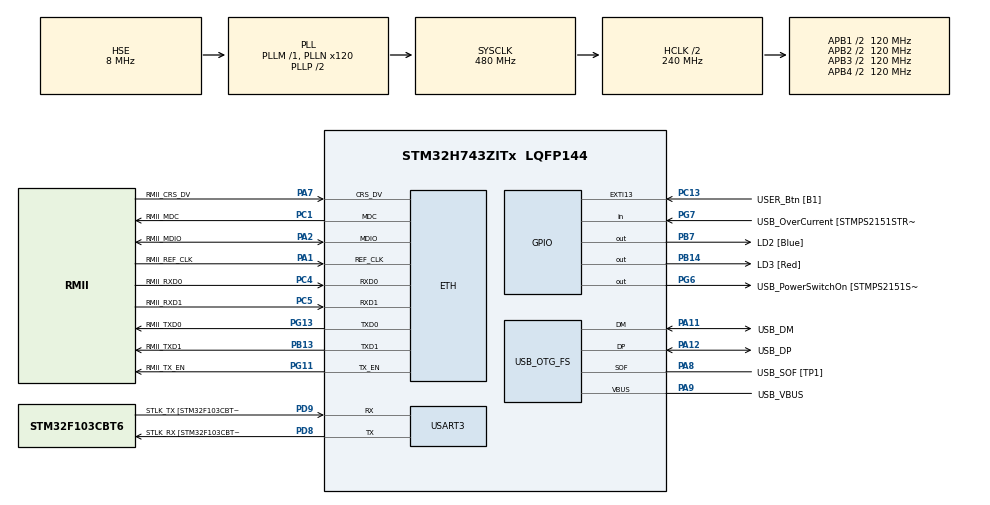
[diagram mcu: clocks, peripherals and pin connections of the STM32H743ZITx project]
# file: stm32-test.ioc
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Dma.Request0=USART3_RX
Dma.Request1=USART3_TX
Dma.USART3_RX.0.Direction=DMA_PERIPH_TO_MEMORY
Dma.USART3_RX.0.EventEnable=DISABLE
Dma.USART3_RX.0.FIFOMode=DMA_FIFOMODE_DISABLE
Dma.USART3_RX.0.Instance=DMA1_Stream0
Dma.USART3_RX.0.MemDataAlignment=DMA_MDATAALIGN_BYTE
Dma.USART3_RX.0.MemInc=DMA_MINC_ENABLE
Dma.USART3_RX.0.Mode=DMA_NORMAL
Dma.USART3_RX.0.PeriphDataAlignment=DMA_PDATAALIGN_BYTE
Dma.USART3_RX.0.PeriphInc=DMA_PINC_DISABLE
Dma.USART3_RX.0.Polarity=HAL_DMAMUX_REQ_GEN_RISING
Dma.USART3_RX.0.Priority=DMA_PRIORITY_LOW
Dma.USART3_RX.0.RequestNumber=1
Dma.USART3_RX.0.SignalID=NONE
Dma.USART3_RX.0.SyncEnable=DISABLE
Dma.USART3_RX.0.SyncPolarity=HAL_DMAMUX_SYNC_NO_EVENT
Dma.USART3_RX.0.SyncRequestNumber=1
Dma.USART3_RX.0.SyncSignalID=NONE
Dma.USART3_TX.1.Direction=DMA_MEMORY_TO_PERIPH
Dma.USART3_TX.1.EventEnable=DISABLE
Dma.USART3_TX.1.FIFOMode=DMA_FIFOMODE_DISABLE
Dma.USART3_TX.1.Instance=DMA1_Stream1
Dma.USART3_TX.1.MemDataAlignment=DMA_MDATAALIGN_BYTE
Dma.USART3_TX.1.MemInc=DMA_MINC_ENABLE
Dma.USART3_TX.1.Mode=DMA_NORMAL
Dma.USART3_TX.1.PeriphDataAlignment=DMA_PDATAALIGN_BYTE
Dma.USART3_TX.1.PeriphInc=DMA_PINC_DISABLE
Dma.USART3_TX.1.Polarity=HAL_DMAMUX_REQ_GEN_RISING
Dma.USART3_TX.1.Priority=DMA_PRIORITY_LOW
Dma.USART3_TX.1.RequestNumber=1
Dma.USART3_TX.1.SignalID=NONE
Dma.USART3_TX.1.SyncEnable=DISABLE
Dma.USART3_TX.1.SyncPolarity=HAL_DMAMUX_SYNC_NO_EVENT
Dma.USART3_TX.1.SyncRequestNumber=1
Dma.USART3_TX.1.SyncSignalID=NONE
ETH.MediaInterface=HAL_ETH_RMII_MODE
Mcu.Family=STM32H7
Mcu.Name=STM32H743ZITx
Mcu.Package=LQFP144
NVIC.DMA1_Stream0_IRQn=true\:0\:0\:false\:false\:true\:false\:true\:true
NVIC.DMA1_Stream1_IRQn=true\:0\:0\:false\:false\:true\:false\:true\:true
NVIC.ETH_IRQn=true\:0\:0\:false\:false\:true\:true\:true\:true
NVIC.ETH_WKUP_IRQn=true\:0\:0\:false\:false\:true\:true\:true\:true
NVIC.PriorityGroup=NVIC_PRIORITYGROUP_4
NVIC.TIM7_IRQn=true\:15\:0\:false\:false\:true\:false\:true\:true
NVIC.TimeBase=TIM7_IRQn
NVIC.TimeBaseIP=TIM7
NVIC.USART3_IRQn=true\:0\:0\:false\:false\:true\:true\:true\:true
PA1.GPIO_Label=RMII_REF_CLK
PA1.Mode=RMII
PA1.Signal=ETH_REF_CLK
PA11.GPIO_Label=USB_DM
PA11.Mode=Device_Only
PA11.Signal=USB_OTG_FS_DM
PA12.GPIO_Label=USB_DP
PA12.Mode=Device_Only
PA12.Signal=USB_OTG_FS_DP
PA13\ (JTMS/SWDIO).GPIO_Label=TMS
PA13\ (JTMS/SWDIO).Mode=Serial_Wire
PA13\ (JTMS/SWDIO).Signal=DEBUG_JTMS-SWDIO
PA14\ (JTCK/SWCLK).GPIO_Label=TCK
PA14\ (JTCK/SWCLK).Mode=Serial_Wire
PA14\ (JTCK/SWCLK).Signal=DEBUG_JTCK-SWCLK
PA2.GPIO_Label=RMII_MDIO
PA2.Mode=RMII
PA2.Signal=ETH_MDIO
PA7.GPIO_Label=RMII_CRS_DV
PA7.Mode=RMII
PA7.Signal=ETH_CRS_DV
PA8.GPIO_Label=USB_SOF [TP1]
PA8.Mode=Activate_SOF_FS
PA8.Signal=USB_OTG_FS_SOF
PA9.GPIO_Label=USB_VBUS
PA9.Mode=Activate_VBUS
PA9.Signal=USB_OTG_FS_VBUS
PB13.GPIO_Label=RMII_TXD1
PB13.Mode=RMII
PB13.Signal=ETH_TXD1
PB14.GPIO_Label=LD3 [Red]
PB14.Signal=GPIO_Output
PB7.GPIO_Label=LD2 [Blue]
PB7.Signal=GPIO_Output
PC1.GPIO_Label=RMII_MDC
PC1.Mode=RMII
PC1.Signal=ETH_MDC
PC13.GPIO_Label=USER_Btn [B1]
PC13.Signal=GPXTI13
PC14-OSC32_IN\ (OSC32_IN).Mode=LSE-External-Oscillator
PC14-OSC32_IN\ (OSC32_IN).Signal=RCC_OSC32_IN
PC15-OSC32_OUT\ (OSC32_OUT).Mode=LSE-External-Oscillator
PC15-OSC32_OUT\ (OSC32_OUT).Signal=RCC_OSC32_OUT
PC4.GPIO_Label=RMII_RXD0
PC4.Mode=RMII
PC4.Signal=ETH_RXD0
PC5.GPIO_Label=RMII_RXD1
PC5.Mode=RMII
PC5.Signal=ETH_RXD1
PD8.GPIO_Label=STLK_RX [STM32F103CBT6_PA3]
PD8.Mode=Asynchronous
PD8.Signal=USART3_TX
PD9.GPIO_Label=STLK_TX [STM32F103CBT6_PA2]
PD9.Mode=Asynchronous
PD9.Signal=USART3_RX
PG11.GPIO_Label=RMII_TX_EN
PG11.Mode=RMII
PG11.Signal=ETH_TX_EN
PG13.GPIO_Label=RMII_TXD0
PG13.Mode=RMII
PG13.Signal=ETH_TXD0
PG6.GPIO_Label=USB_PowerSwitchOn [STMPS2151STR_EN]
PG6.Signal=GPIO_Output
PG7.GPIO_Label=USB_OverCurrent [STMPS2151STR_FAULT]
PG7.Signal=GPIO_Input
PH0-OSC_IN\ (PH0).GPIO_Label=MCO
PH0-OSC_IN\ (PH0).Mode=HSE-External-Clock-Source
PH0-OSC_IN\ (PH0).Signal=RCC_OSC_IN
ProjectManager.HeapSize=0x200
ProjectManager.StackSize=0x400
ProjectManager.TargetToolchain=STM32CubeIDE
RCC.48MHZClocksFreq_Value=24000000
RCC.ADCFreq_Value=16125000
RCC.AHBFreq_Value=216000000
RCC.APB1CLKDivider=RCC_HCLK_DIV4
RCC.APB1Freq_Value=120000000
RCC.APB1TimFreq_Value=108000000
RCC.APB2CLKDivider=RCC_HCLK_DIV2
RCC.APB2Freq_Value=120000000
RCC.APB2TimFreq_Value=216000000
RCC.APB3Freq_Value=120000000
RCC.APB4Freq_Value=120000000
RCC.CortexFreq_Value=480000000
RCC.D1PPRE=RCC_APB3_DIV2
RCC.D2PPRE1=RCC_APB1_DIV2
RCC.D2PPRE2=RCC_APB2_DIV2
RCC.D3PPRE=RCC_APB4_DIV2
RCC.DIVM1=1
RCC.DIVM3=1
RCC.DIVN1=120
RCC.DIVN3=120
RCC.DIVQ1=4
RCC.DIVQ3=20
RCC.HCLKFreq_Value=240000000
RCC.HPRE=RCC_HCLK_DIV2
RCC.HSE_VALUE=8000000
RCC.HSI_VALUE=64000000
RCC.PLLM=25
RCC.PLLMUL=RCC_PLL_MUL9
RCC.PLLN=432
RCC.PLLQ=9
RCC.PLLSourceVirtual=RCC_PLLSOURCE_HSE
RCC.PRESCALERUSB=RCC_USBCLKSOURCE_PLL_DIV1_5
RCC.PWR_Regulator_Voltage_Scale=PWR_REGULATOR_VOLTAGE_SCALE0
RCC.SYSCLKFreq_VALUE=480000000
RCC.SYSCLKSource=RCC_SYSCLKSOURCE_PLLCLK
RCC.SYSCLKSourceVirtual=RCC_SYSCLKSOURCE_PLLCLK
RCC.USBCLockSelection=RCC_USBCLKSOURCE_PLL3
RCC.USBFreq_Value=48000000
RCC.VCOOutputFreq_Value=432000000
USART3.VirtualMode-Asynchronous=VM_ASYNC
USB_OTG_FS.VirtualMode=Device_Only
VP_CRC_VS_CRC.Mode=CRC_Activate
VP_MEMORYMAP_VS_MEMORYMAP.Mode=CurAppReg
VP_RNG_VS_RNG.Mode=RNG_Activate
VP_SYS_VS_tim7.Mode=TIM7
board=NUCLEO-H743ZI

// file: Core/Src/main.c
/* USER CODE BEGIN Header */
/**
 ******************************************************************************
 * @file           : main.c
 * @brief          : Main program body
 ******************************************************************************
 * @attention
 *
 * Copyright (c) 2024 STMicroelectronics.
 * All rights reserved.
 *
 * This software is licensed under terms that can be found in the LICENSE file
 * in the root directory of this software component.
 * If no LICENSE file comes with this software, it is provided AS-IS.
 *
 ******************************************************************************
 */
/* USER CODE END Header */
#include "main.h"
#include "string.h"

/* USER CODE BEGIN Includes */
#include "logging.h"

#include <stdbool.h>
#include <stdio.h>
#include <string.h>

/* USER CODE END Includes */

#if defined(__ICCARM__) /*!< IAR Compiler */
#pragma location = 0x30000000
ETH_DMADescTypeDef DMARxDscrTab[ETH_RX_DESC_CNT]; /* Ethernet Rx DMA Descriptors */
#pragma location = 0x30000080
ETH_DMADescTypeDef DMATxDscrTab[ETH_TX_DESC_CNT]; /* Ethernet Tx DMA Descriptors */

#elif defined(__CC_ARM) /* MDK ARM Compiler */

__attribute__((at(0x30000000))) ETH_DMADescTypeDef DMARxDscrTab[ETH_RX_DESC_CNT]; /* Ethernet Rx DMA Descriptors */
__attribute__((at(0x30000080))) ETH_DMADescTypeDef DMATxDscrTab[ETH_TX_DESC_CNT]; /* Ethernet Tx DMA Descriptors */

#elif defined(__GNUC__) /* GNU Compiler */

ETH_DMADescTypeDef DMARxDscrTab[ETH_RX_DESC_CNT]
    __attribute__((section(".RxDecripSection"))); /* Ethernet Rx DMA Descriptors */
ETH_DMADescTypeDef DMATxDscrTab[ETH_TX_DESC_CNT]
    __attribute__((section(".TxDecripSection"))); /* Ethernet Tx DMA Descriptors */
#endif

ETH_TxPacketConfig TxConfig;

CRC_HandleTypeDef hcrc;

ETH_HandleTypeDef heth;

RNG_HandleTypeDef hrng;

UART_HandleTypeDef huart3;
DMA_HandleTypeDef hdma_usart3_rx;
DMA_HandleTypeDef hdma_usart3_tx;

PCD_HandleTypeDef hpcd_USB_OTG_FS;

/* USER CODE BEGIN PV */
uint8_t FIRMWARE_VERSION_DATA[3] = {1, 0, 0};

/* USER CODE END PV */

void SystemClock_Config(void);
static void MX_GPIO_Init(void);
static void MX_DMA_Init(void);
static void MX_ETH_Init(void);
static void MX_USART3_UART_Init(void);
static void MX_USB_OTG_FS_PCD_Init(void);
static void MX_CRC_Init(void);
static void MX_RNG_Init(void);

int main(void) {

  /* MCU Configuration--------------------------------------------------------*/

  /* Reset of all peripherals, Initializes the Flash interface and the Systick.
   */
  HAL_Init();

  /* Configure the system clock */
  SystemClock_Config();

  /* Initialize all configured peripherals */
  MX_GPIO_Init();
  MX_DMA_Init();
  MX_ETH_Init();
  MX_USART3_UART_Init();
  MX_USB_OTG_FS_PCD_Init();
  MX_CRC_Init();
  MX_RNG_Init();
  /* USER CODE BEGIN 2 */

  init_dma_logging();
  printf("\033c");
  printf("STM32 H743 Demo Firmware V%d.%d.%d\r\n\r\n", FIRMWARE_VERSION_DATA[0], FIRMWARE_VERSION_DATA[1],
         FIRMWARE_VERSION_DATA[2]);
  printf("CPU Clock Frequency: %lu MHz\r\n", HAL_RCC_GetSysClockFreq() / 1000000);

  /* USER CODE END 2 */

  /* Infinite loop */
  while (1) {

    /* USER CODE BEGIN 3 */
    HAL_GPIO_TogglePin(LD2_GPIO_Port, LD2_Pin);
    HAL_Delay(250);
  }
  /* USER CODE END 3 */
}

void SystemClock_Config(void) {
  RCC_OscInitTypeDef RCC_OscInitStruct = {0};
  RCC_ClkInitTypeDef RCC_ClkInitStruct = {0};

  /** Supply configuration update enable
   */
  HAL_PWREx_ConfigSupply(PWR_LDO_SUPPLY);

  /** Configure the main internal regulator output voltage
   */
  __HAL_PWR_VOLTAGESCALING_CONFIG(PWR_REGULATOR_VOLTAGE_SCALE1);

  while (!__HAL_PWR_GET_FLAG(PWR_FLAG_VOSRDY)) {
  }

  __HAL_RCC_SYSCFG_CLK_ENABLE();
  __HAL_PWR_VOLTAGESCALING_CONFIG(PWR_REGULATOR_VOLTAGE_SCALE0);

  while (!__HAL_PWR_GET_FLAG(PWR_FLAG_VOSRDY)) {
  }

  /** Initializes the RCC Oscillators according to the specified parameters
   * in the RCC_OscInitTypeDef structure.
   */
  RCC_OscInitStruct.OscillatorType = RCC_OSCILLATORTYPE_HSI48 | RCC_OSCILLATORTYPE_HSE;
  RCC_OscInitStruct.HSEState = RCC_HSE_BYPASS;
  RCC_OscInitStruct.HSI48State = RCC_HSI48_ON;
  RCC_OscInitStruct.PLL.PLLState = RCC_PLL_ON;
  RCC_OscInitStruct.PLL.PLLSource = RCC_PLLSOURCE_HSE;
  RCC_OscInitStruct.PLL.PLLM = 1;
  RCC_OscInitStruct.PLL.PLLN = 120;
  RCC_OscInitStruct.PLL.PLLP = 2;
  RCC_OscInitStruct.PLL.PLLQ = 4;
  RCC_OscInitStruct.PLL.PLLR = 2;
  RCC_OscInitStruct.PLL.PLLRGE = RCC_PLL1VCIRANGE_3;
  RCC_OscInitStruct.PLL.PLLVCOSEL = RCC_PLL1VCOWIDE;
  RCC_OscInitStruct.PLL.PLLFRACN = 0;
  if (HAL_RCC_OscConfig(&RCC_OscInitStruct) != HAL_OK) {
    Error_Handler();
  }

  /** Initializes the CPU, AHB and APB buses clocks
   */
  RCC_ClkInitStruct.ClockType = RCC_CLOCKTYPE_HCLK | RCC_CLOCKTYPE_SYSCLK | RCC_CLOCKTYPE_PCLK1 | RCC_CLOCKTYPE_PCLK2 |
                                RCC_CLOCKTYPE_D3PCLK1 | RCC_CLOCKTYPE_D1PCLK1;
  RCC_ClkInitStruct.SYSCLKSource = RCC_SYSCLKSOURCE_PLLCLK;
  RCC_ClkInitStruct.SYSCLKDivider = RCC_SYSCLK_DIV1;
  RCC_ClkInitStruct.AHBCLKDivider = RCC_HCLK_DIV2;
  RCC_ClkInitStruct.APB3CLKDivider = RCC_APB3_DIV2;
  RCC_ClkInitStruct.APB1CLKDivider = RCC_APB1_DIV2;
  RCC_ClkInitStruct.APB2CLKDivider = RCC_APB2_DIV2;
  RCC_ClkInitStruct.APB4CLKDivider = RCC_APB4_DIV2;

  if (HAL_RCC_ClockConfig(&RCC_ClkInitStruct, FLASH_LATENCY_4) != HAL_OK) {
    Error_Handler();
  }
}

static void MX_CRC_Init(void) {

  hcrc.Instance = CRC;
  hcrc.Init.DefaultPolynomialUse = DEFAULT_POLYNOMIAL_ENABLE;
  hcrc.Init.DefaultInitValueUse = DEFAULT_INIT_VALUE_ENABLE;
  hcrc.Init.InputDataInversionMode = CRC_INPUTDATA_INVERSION_NONE;
  hcrc.Init.OutputDataInversionMode = CRC_OUTPUTDATA_INVERSION_DISABLE;
  hcrc.InputDataFormat = CRC_INPUTDATA_FORMAT_BYTES;
  if (HAL_CRC_Init(&hcrc) != HAL_OK) {
    Error_Handler();
  }
}

static void MX_ETH_Init(void) {

  static uint8_t MACAddr[6];

  heth.Instance = ETH;
  MACAddr[0] = 0x00;
  MACAddr[1] = 0x80;
  MACAddr[2] = 0xE1;
  MACAddr[3] = 0x00;
  MACAddr[4] = 0x00;
  MACAddr[5] = 0x00;
  heth.Init.MACAddr = &MACAddr[0];
  heth.Init.MediaInterface = HAL_ETH_RMII_MODE;
  heth.Init.TxDesc = DMATxDscrTab;
  heth.Init.RxDesc = DMARxDscrTab;
  heth.Init.RxBuffLen = 1524;

  if (HAL_ETH_Init(&heth) != HAL_OK) {
    Error_Handler();
  }

  memset(&TxConfig, 0, sizeof(ETH_TxPacketConfig));
  TxConfig.Attributes = ETH_TX_PACKETS_FEATURES_CSUM | ETH_TX_PACKETS_FEATURES_CRCPAD;
  TxConfig.ChecksumCtrl = ETH_CHECKSUM_IPHDR_PAYLOAD_INSERT_PHDR_CALC;
  TxConfig.CRCPadCtrl = ETH_CRC_PAD_INSERT;
}

static void MX_RNG_Init(void) {

  hrng.Instance = RNG;
  hrng.Init.ClockErrorDetection = RNG_CED_ENABLE;
  if (HAL_RNG_Init(&hrng) != HAL_OK) {
    Error_Handler();
  }
}

static void MX_USART3_UART_Init(void) {

  huart3.Instance = USART3;
  huart3.Init.BaudRate = 115200;
  huart3.Init.WordLength = UART_WORDLENGTH_8B;
  huart3.Init.StopBits = UART_STOPBITS_1;
  huart3.Init.Parity = UART_PARITY_NONE;
  huart3.Init.Mode = UART_MODE_TX_RX;
  huart3.Init.HwFlowCtl = UART_HWCONTROL_NONE;
  huart3.Init.OverSampling = UART_OVERSAMPLING_16;
  huart3.Init.OneBitSampling = UART_ONE_BIT_SAMPLE_DISABLE;
  huart3.Init.ClockPrescaler = UART_PRESCALER_DIV1;
  huart3.AdvancedInit.AdvFeatureInit = UART_ADVFEATURE_NO_INIT;
  if (HAL_UART_Init(&huart3) != HAL_OK) {
    Error_Handler();
  }
  if (HAL_UARTEx_SetTxFifoThreshold(&huart3, UART_TXFIFO_THRESHOLD_1_8) != HAL_OK) {
    Error_Handler();
  }
  if (HAL_UARTEx_SetRxFifoThreshold(&huart3, UART_RXFIFO_THRESHOLD_1_8) != HAL_OK) {
    Error_Handler();
  }
  if (HAL_UARTEx_DisableFifoMode(&huart3) != HAL_OK) {
    Error_Handler();
  }
}

static void MX_USB_OTG_FS_PCD_Init(void) {

  hpcd_USB_OTG_FS.Instance = USB_OTG_FS;
  hpcd_USB_OTG_FS.Init.dev_endpoints = 9;
  hpcd_USB_OTG_FS.Init.speed = PCD_SPEED_FULL;
  hpcd_USB_OTG_FS.Init.dma_enable = DISABLE;
  hpcd_USB_OTG_FS.Init.phy_itface = PCD_PHY_EMBEDDED;
  hpcd_USB_OTG_FS.Init.Sof_enable = ENABLE;
  hpcd_USB_OTG_FS.Init.low_power_enable = DISABLE;
  hpcd_USB_OTG_FS.Init.lpm_enable = DISABLE;
  hpcd_USB_OTG_FS.Init.battery_charging_enable = ENABLE;
  hpcd_USB_OTG_FS.Init.vbus_sensing_enable = ENABLE;
  hpcd_USB_OTG_FS.Init.use_dedicated_ep1 = DISABLE;
  if (HAL_PCD_Init(&hpcd_USB_OTG_FS) != HAL_OK) {
    Error_Handler();
  }
}

static void MX_DMA_Init(void) {

  /* DMA controller clock enable */
  __HAL_RCC_DMA1_CLK_ENABLE();

  /* DMA interrupt init */
  /* DMA1_Stream0_IRQn interrupt configuration */
  HAL_NVIC_SetPriority(DMA1_Stream0_IRQn, 0, 0);
  HAL_NVIC_EnableIRQ(DMA1_Stream0_IRQn);
  /* DMA1_Stream1_IRQn interrupt configuration */
  HAL_NVIC_SetPriority(DMA1_Stream1_IRQn, 0, 0);
  HAL_NVIC_EnableIRQ(DMA1_Stream1_IRQn);
}

static void MX_GPIO_Init(void) {
  GPIO_InitTypeDef GPIO_InitStruct = {0};

  /* GPIO Ports Clock Enable */
  __HAL_RCC_GPIOC_CLK_ENABLE();
  __HAL_RCC_GPIOH_CLK_ENABLE();
  __HAL_RCC_GPIOA_CLK_ENABLE();
  __HAL_RCC_GPIOB_CLK_ENABLE();
  __HAL_RCC_GPIOD_CLK_ENABLE();
  __HAL_RCC_GPIOG_CLK_ENABLE();

  /*Configure GPIO pin Output Level */
  HAL_GPIO_WritePin(GPIOB, LD3_Pin | LD2_Pin, GPIO_PIN_RESET);

  /*Configure GPIO pin Output Level */
  HAL_GPIO_WritePin(USB_PowerSwitchOn_GPIO_Port, USB_PowerSwitchOn_Pin, GPIO_PIN_RESET);

  /*Configure GPIO pin : USER_Btn_Pin */
  GPIO_InitStruct.Pin = USER_Btn_Pin;
  GPIO_InitStruct.Mode = GPIO_MODE_IT_RISING;
  GPIO_InitStruct.Pull = GPIO_NOPULL;
  HAL_GPIO_Init(USER_Btn_GPIO_Port, &GPIO_InitStruct);

  /*Configure GPIO pins : LD3_Pin LD2_Pin */
  GPIO_InitStruct.Pin = LD3_Pin | LD2_Pin;
  GPIO_InitStruct.Mode = GPIO_MODE_OUTPUT_PP;
  GPIO_InitStruct.Pull = GPIO_NOPULL;
  GPIO_InitStruct.Speed = GPIO_SPEED_FREQ_LOW;
  HAL_GPIO_Init(GPIOB, &GPIO_InitStruct);

  /*Configure GPIO pin : USB_PowerSwitchOn_Pin */
  GPIO_InitStruct.Pin = USB_PowerSwitchOn_Pin;
  GPIO_InitStruct.Mode = GPIO_MODE_OUTPUT_PP;
  GPIO_InitStruct.Pull = GPIO_NOPULL;
  GPIO_InitStruct.Speed = GPIO_SPEED_FREQ_LOW;
  HAL_GPIO_Init(USB_PowerSwitchOn_GPIO_Port, &GPIO_InitStruct);

  /*Configure GPIO pin : USB_OverCurrent_Pin */
  GPIO_InitStruct.Pin = USB_OverCurrent_Pin;
  GPIO_InitStruct.Mode = GPIO_MODE_INPUT;
  GPIO_InitStruct.Pull = GPIO_NOPULL;
  HAL_GPIO_Init(USB_OverCurrent_GPIO_Port, &GPIO_InitStruct);

}

/* USER CODE BEGIN 4 */

void HAL_UARTEx_RxEventCallback(UART_HandleTypeDef *huart, uint16_t Size) {}

void HAL_UART_RxHalfCpltCallback(UART_HandleTypeDef *huart) {}

void HAL_UART_RxCpltCallback(UART_HandleTypeDef *huart) {}

void HAL_UART_TxCpltCallback(UART_HandleTypeDef *huart) {
  if (huart->Instance == USART3) {
    logging_UART_TxCpltCallback(huart);
  }
}

/* USER CODE END 4 */

void HAL_TIM_PeriodElapsedCallback(TIM_HandleTypeDef *htim) {
  if (htim->Instance == TIM7) {
    HAL_IncTick();
  }
}

void Error_Handler(void) {
  /* USER CODE BEGIN Error_Handler_Debug */
  /* User can add his own implementation to report the HAL error return state */
  HAL_GPIO_WritePin(LD3_GPIO_Port, LD3_Pin, GPIO_PIN_SET);
  printf("===> ERROR HANDLER\r\n");
  __disable_irq();
  while (1) {
  }
  /* USER CODE END Error_Handler_Debug */
}

#ifdef USE_FULL_ASSERT
/**
 * @brief  Reports the name of the source file and the source line number
 *         where the assert_param error has occurred.
 * @param  file: pointer to the source file name
 * @param  line: assert_param error line source number
 * @retval None
 */
void assert_failed(uint8_t *file, uint32_t line) {
  /* USER CODE BEGIN 6 */
  /* User can add his own implementation to report the file name and line
     number, ex: printf("Wrong parameters value: file %s on line %d\r\n", file,
     line) */
  /* USER CODE END 6 */
}
#endif /* USE_FULL_ASSERT */
